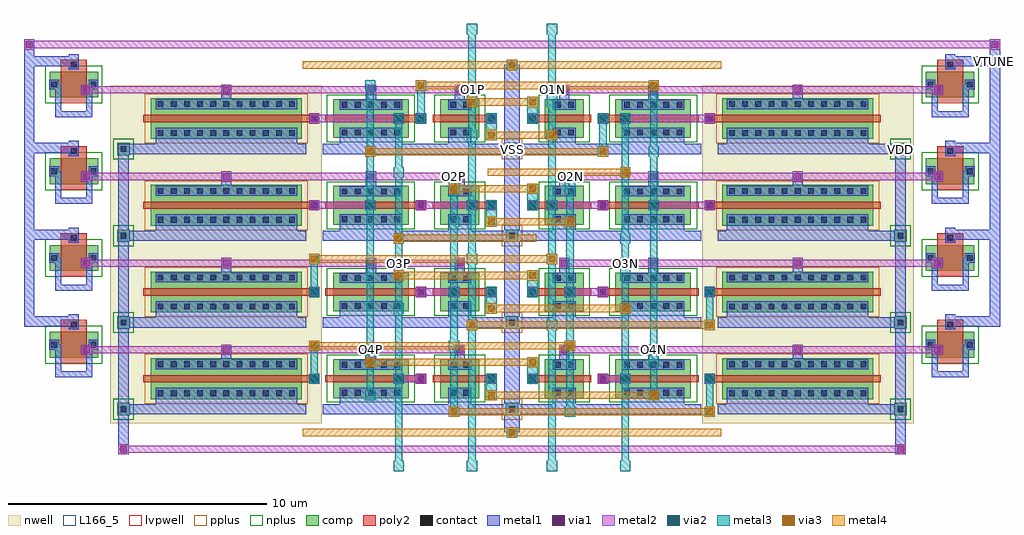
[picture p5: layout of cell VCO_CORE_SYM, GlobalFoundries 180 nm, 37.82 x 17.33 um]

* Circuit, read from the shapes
.subckt VCO_CORE_SYM O1N O1P O2N O2P O3N O3P O4N O4P VDD VSS VTUNE
XM1 O4P VTUNE O4P VSS nfet_03v3 w=1u l=1u
XM2 O3P VTUNE O3P VSS nfet_03v3 w=1u l=1u
XM3 O2P VTUNE O2P VSS nfet_03v3 w=1u l=1u
XM4 O1P VTUNE O1P VSS nfet_03v3 w=1u l=1u
XM5 O4P O3P VSS VSS nfet_03v3 w=2.92u l=0.28u
XM6 O3P O2P VSS VSS nfet_03v3 w=2.92u l=0.28u
XM7 O2P O1P VSS VSS nfet_03v3 w=2.92u l=0.28u
XM8 O1P O4N VSS VSS nfet_03v3 w=2.92u l=0.28u
XM9 O4P O4N VSS VSS nfet_03v3 w=1.5u l=0.28u
XM10 O3P O3N VSS VSS nfet_03v3 w=1.5u l=0.28u
XM11 O2P O2N VSS VSS nfet_03v3 w=1.5u l=0.28u
XM12 O1P O1N VSS VSS nfet_03v3 w=1.5u l=0.28u
XM13 O4N O4P VSS VSS nfet_03v3 w=1.5u l=0.28u
XM14 O3N O3P VSS VSS nfet_03v3 w=1.5u l=0.28u
XM15 O2N O2P VSS VSS nfet_03v3 w=1.5u l=0.28u
XM16 O1N O1P VSS VSS nfet_03v3 w=1.5u l=0.28u
XM17 O4N O3N VSS VSS nfet_03v3 w=2.92u l=0.28u
XM18 O3N O2N VSS VSS nfet_03v3 w=2.92u l=0.28u
XM19 O2N O1N VSS VSS nfet_03v3 w=2.92u l=0.28u
XM20 O1N O4P VSS VSS nfet_03v3 w=2.92u l=0.28u
XM21 O4N VTUNE O4N VSS nfet_03v3 w=1u l=1u
XM22 O3N VTUNE O3N VSS nfet_03v3 w=1u l=1u
XM23 O2N VTUNE O2N VSS nfet_03v3 w=1u l=1u
XM24 O1N VTUNE O1N VSS nfet_03v3 w=1u l=1u
XM25 O4P O2N VDD VDD pfet_03v3 w=5.84u l=0.28u
XM26 O3P O1N VDD VDD pfet_03v3 w=5.84u l=0.28u
XM27 O2P O4P VDD VDD pfet_03v3 w=5.84u l=0.28u
XM28 O1P O3P VDD VDD pfet_03v3 w=5.84u l=0.28u
XM29 O4N O2P VDD VDD pfet_03v3 w=5.84u l=0.28u
XM30 O3N O1P VDD VDD pfet_03v3 w=5.84u l=0.28u
XM31 O2N O4N VDD VDD pfet_03v3 w=5.84u l=0.28u
XM32 O1N O3N VDD VDD pfet_03v3 w=5.84u l=0.28u
.ends

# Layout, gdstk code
from math import pi, radians
import gdstk
lib = gdstk.Library(unit=1e-6, precision=1e-09)
def R(c, l, rs):  # rectangles x0, y0, x1, y1
    for r in rs: c.add(gdstk.rectangle(r[:2], r[2:], *l))
def A(c, l, x, y, w, h, nx, ny, dx, dy):  # array of equal rectangles
    R(c, l, [(x+i*dx, y+j*dy, x+i*dx+w, y+j*dy+h) for i in range(nx) for j in range(ny)])
def P(c, l, *ps):  # polygons
    for p in ps: c.add(gdstk.Polygon(p, *l))
nwell = (21, 0)
comp = (22, 0)
poly2 = (30, 0)
pplus = (31, 0)
nplus = (32, 0)
contact = (33, 0)
metal1 = (34, 0)
via1 = (35, 0)
metal2 = (36, 0)
via2 = (38, 0)
via3 = (40, 0)
metal3 = (42, 0)
metal4 = (46, 0)
L166_5 = (166, 5)
lvpwell = (204, 0)

nfet_w1p5_l0p28_nf1_top = lib.new_cell('NFET_W1p5_L0p28_NF1_top')
R(nfet_w1p5_l0p28_nf1_top, comp, [(-0.42,0,1.08,1.5)])
P(nfet_w1p5_l0p28_nf1_top, poly2, [(0.19,-0.3),(0.19,1.8),(0.15,1.8),(0.15,2.16),(0.51,2.16),(0.51,1.8),(0.47,1.8),(0.47,-0.3)])
R(nfet_w1p5_l0p28_nf1_top, nplus, [(-0.59,-0.24,1.25,1.74)])
R(nfet_w1p5_l0p28_nf1_top, contact, [(-0.32,0.385,-0.1,0.605), (0.76,0.385,0.98,0.605), (-0.32,0.895,-0.1,1.115), (0.76,0.895,0.98,1.115), (0.22,1.87,0.44,2.09)])
R(nfet_w1p5_l0p28_nf1_top, metal1, [(-0.4,0.305,-0.02,1.195), (0.68,0.305,1.06,1.195), (0.14,1.79,0.52,2.17)])

nfet_w2p92_l0p28_nf1_top = lib.new_cell('NFET_W2p92_L0p28_NF1_top')
R(nfet_w2p92_l0p28_nf1_top, comp, [(-0.42,0,1.08,2.92)])
P(nfet_w2p92_l0p28_nf1_top, poly2, [(0.19,-0.3),(0.19,3.22),(0.15,3.22),(0.15,3.58),(0.51,3.58),(0.51,3.22),(0.47,3.22),(0.47,-0.3)])
R(nfet_w2p92_l0p28_nf1_top, nplus, [(-0.59,-0.24,1.25,3.16)])
A(nfet_w2p92_l0p28_nf1_top, contact, -0.32, 0.33, 0.22, 0.22, 1, 5, 0, 0.51)
A(nfet_w2p92_l0p28_nf1_top, contact, 0.76, 0.33, 0.22, 0.22, 1, 5, 0, 0.51)
R(nfet_w2p92_l0p28_nf1_top, contact, [(0.22,3.29,0.44,3.51)])
R(nfet_w2p92_l0p28_nf1_top, metal1, [(-0.4,0.25,-0.02,2.67), (0.68,0.25,1.06,2.67), (0.14,3.21,0.52,3.59)])

pfet_w5p84_l0p28_nf1_top = lib.new_cell('PFET_W5p84_L0p28_NF1_top')
R(pfet_w5p84_l0p28_nf1_top, nwell, [(-0.9,-0.44,1.56,6.28)])
R(pfet_w5p84_l0p28_nf1_top, comp, [(-0.46,0,1.12,5.84)])
P(pfet_w5p84_l0p28_nf1_top, poly2, [(0.19,-0.3),(0.19,6.14),(0.14,6.14),(0.14,6.52),(0.52,6.52),(0.52,6.14),(0.47,6.14),(0.47,-0.3)])
R(pfet_w5p84_l0p28_nf1_top, pplus, [(-0.63,-0.24,1.29,6.08)])
A(pfet_w5p84_l0p28_nf1_top, contact, -0.34, 0.26, 0.22, 0.22, 1, 11, 0, 0.51)
A(pfet_w5p84_l0p28_nf1_top, contact, 0.78, 0.26, 0.22, 0.22, 1, 11, 0, 0.51)
R(pfet_w5p84_l0p28_nf1_top, contact, [(0.22,6.22,0.44,6.44)])
R(pfet_w5p84_l0p28_nf1_top, metal1, [(-0.42,0.18,-0.04,5.66), (0.7,0.18,1.08,5.66), (0.14,6.14,0.52,6.52)])

tap_nw = lib.new_cell('TAP_NW')
R(tap_nw, nwell, [(-0.5,-0.5,0.5,0.5)])
R(tap_nw, comp, [(-0.24,-0.24,0.24,0.24)])
R(tap_nw, nplus, [(-0.4,-0.4,0.4,0.4)])
R(tap_nw, contact, [(-0.11,-0.11,0.11,0.11)])
R(tap_nw, metal1, [(-0.2,-0.2,0.2,0.2)])

tuning_cap_nmos_03v3_1x1 = lib.new_cell('TUNING_CAP_NMOS_03V3_1X1')
R(tuning_cap_nmos_03v3_1x1, comp, [(-0.92,-0.4,0.96,0.6)])
R(tuning_cap_nmos_03v3_1x1, poly2, [(-0.48,-0.62,0.52,1.06)])
R(tuning_cap_nmos_03v3_1x1, nplus, [(-1.08,-0.63,1.12,0.83)])
R(tuning_cap_nmos_03v3_1x1, contact, [(-0.85,-0.01,-0.63,0.21), (0.67,-0.01,0.89,0.21), (-0.09,0.77,0.13,0.99)])
R(tuning_cap_nmos_03v3_1x1, metal1, [(-0.695,-1.165,-0.465,0.1), (-0.695,-1.165,0.735,-0.935), (0.505,-1.165,0.735,0.1), (-0.93,-0.09,-0.55,0.29), (0.59,-0.09,0.97,0.29), (-0.18,0.69,0.22,1.28)])
R(tuning_cap_nmos_03v3_1x1, L166_5, [(-0.92,-0.4,0.96,0.6)])
R(tuning_cap_nmos_03v3_1x1, lvpwell, [(-0.92,-0.4,0.96,0.6)])

vco_core_half = lib.new_cell('VCO_CORE_HALF')
R(vco_core_half, nwell, [(7.38,-6.44,15.56,6.64)])
A(vco_core_half, metal1, 0, -6.09, 7.33, 0.4, 1, 4, 0, 3.36)
A(vco_core_half, metal1, 7.98, -6.09, 7.28, 0.4, 1, 4, 0, 3.36)
A(vco_core_half, metal1, 1.58, -5.89, 0.89, 0.83, 1, 4, 0, 3.36)
A(vco_core_half, metal1, 4.26, -5.89, 2.42, 0.83, 1, 4, 0, 3.36)
A(vco_core_half, metal1, 8.33, -5.89, 5.48, 0.83, 1, 4, 0, 3.36)
A(vco_core_half, metal1, 0.595, -4.91, 0.4, 0.4, 1, 4, 0, 3.36)
A(vco_core_half, metal1, 3.33, -4.91, 0.4, 0.4, 1, 4, 0, 3.36)
A(vco_core_half, metal1, 7.46, -4.91, 0.4, 0.4, 1, 4, 0, 3.36)
A(vco_core_half, metal1, 1.825, -4.04, 0.4, 0.65, 1, 4, 0, 3.36)
A(vco_core_half, metal1, 5.27, -4.04, 0.4, 0.65, 1, 4, 0, 3.36)
A(vco_core_half, metal1, 10.87, -4.04, 0.4, 0.65, 1, 4, 0, 3.36)
A(vco_core_half, metal1, 1.825, -3.79, 0.4, 0.4, 1, 4, 0, 3.36)
A(vco_core_half, metal1, 5.27, -3.79, 0.4, 0.4, 1, 4, 0, 3.36)
A(vco_core_half, metal1, 10.87, -3.79, 0.4, 0.4, 1, 4, 0, 3.36)
A(vco_core_half, metal1, 16.29, -3.79, 0.4, 0.4, 1, 4, 0, 3.36)
A(vco_core_half, metal1, 16.78, -2.69, 2.13, 0.4, 1, 4, 0, 3.36)
R(vco_core_half, metal1, [(14.86,-7.64,15.26,4.39), (14.86,-7.64,15.26,-7.24), (0,-6.09,0.3,4.39), (18.51,-2.69,18.91,8.44), (18.51,8.04,18.91,8.44)])
A(vco_core_half, via1, 0.665, -4.84, 0.26, 0.26, 1, 4, 0, 3.36)
A(vco_core_half, via1, 3.4, -4.84, 0.26, 0.26, 1, 4, 0, 3.36)
A(vco_core_half, via1, 7.53, -4.84, 0.26, 0.26, 1, 4, 0, 3.36)
A(vco_core_half, via1, 1.895, -3.72, 0.26, 0.26, 1, 4, 0, 3.36)
A(vco_core_half, via1, 5.34, -3.72, 0.26, 0.26, 1, 4, 0, 3.36)
A(vco_core_half, via1, 10.94, -3.72, 0.26, 0.26, 1, 4, 0, 3.36)
A(vco_core_half, via1, 16.36, -3.72, 0.26, 0.26, 1, 4, 0, 3.36)
R(vco_core_half, via1, [(14.93,-7.57,15.19,-7.31), (18.58,8.11,18.84,8.37)])
A(vco_core_half, metal2, 0.595, -4.91, 0.4, 0.4, 1, 4, 0, 3.36)
A(vco_core_half, metal2, 3.33, -4.91, 0.4, 0.4, 1, 4, 0, 3.36)
A(vco_core_half, metal2, 7.46, -4.91, 0.4, 0.4, 1, 4, 0, 3.36)
A(vco_core_half, metal2, 1.825, -3.79, 0.4, 0.4, 1, 4, 0, 3.36)
A(vco_core_half, metal2, 5.27, -3.79, 0.4, 0.4, 1, 4, 0, 3.36)
A(vco_core_half, metal2, 10.87, -3.79, 0.4, 0.4, 1, 4, 0, 3.36)
A(vco_core_half, metal2, 16.29, -3.79, 0.4, 0.4, 1, 4, 0, 3.36)
A(vco_core_half, metal2, 1.885, -3.73, 14.745, 0.28, 1, 3, 0, 3.36)
R(vco_core_half, metal2, [(14.86,-7.64,15.26,-7.24), (-0.14,-7.58,15.2,-7.3), (4.19,-4.91,4.59,-4.51), (3.39,-4.85,4.53,-4.57), (5.29,-3.79,5.69,-3.39), (5.47,-3.79,5.49,-3.39), (2.05,-1.55,2.45,-1.15), (2.11,-1.49,3.67,-1.21), (4.19,-0.43,4.59,-0.03), (1.35,1.81,1.75,2.21), (5.29,1.81,5.69,2.21), (1.41,1.87,3.67,2.15), (5.35,1.87,7.8,2.15), (2.025,2.93,2.25,3.33), (2.05,2.93,2.45,3.33), (4.19,5.17,4.59,5.57), (4.25,5.23,7.8,5.51), (1.35,6.29,1.75,6.69), (1.55,6.29,2.025,6.69), (1.41,6.35,16.63,6.63), (18.51,8.04,18.91,8.44), (-0.14,8.1,18.85,8.38)])
A(vco_core_half, via2, 0.665, -4.84, 0.26, 0.26, 1, 4, 0, 3.36)
R(vco_core_half, via2, [(4.26,-4.84,4.52,-4.58), (7.53,-4.84,7.79,-4.58), (5.36,-3.72,5.62,-3.46), (2.12,-1.48,2.38,-1.22), (7.53,-1.48,7.79,-1.22), (4.26,-0.36,4.52,-0.1), (1.42,1.88,1.68,2.14), (5.36,1.88,5.62,2.14), (2.12,3,2.38,3.26), (3.4,5.24,3.66,5.5), (4.26,5.24,4.52,5.5), (1.42,6.36,1.68,6.62)])
A(vco_core_half, metal3, 0.595, -4.91, 0.4, 0.4, 1, 4, 0, 3.36)
R(vco_core_half, metal3, [(1.35,-8.29,1.75,-7.89), (4.19,-8.29,4.59,-7.89), (1.41,-8.23,1.69,8.98), (4.25,-8.23,4.53,5.51), (2.05,-6.19,2.45,-5.79), (2.11,-6.13,2.39,3.27), (5.29,-5.55,5.69,-5.15), (5.35,-5.49,5.63,6.79), (4.19,-4.91,4.59,-4.51), (4.19,-4.91,4.59,-4.51), (7.46,-4.91,7.86,-4.51), (5.29,-4.27,5.69,-3.87), (5.29,-4.07,5.69,-3.59), (5.29,-3.79,5.69,-3.39), (5.29,-3.79,5.69,-3.39), (2.05,-3.63,2.45,-3.23), (1.35,-2.83,1.75,-2.43), (4.19,-2.19,4.59,-1.79), (2.05,-1.55,2.45,-1.15), (2.05,-1.55,2.45,-1.15), (7.46,-1.55,7.86,-1.15), (4.19,-0.91,4.59,-0.51), (4.19,-0.71,4.59,-0.23), (4.19,-0.43,4.59,-0.03), (4.19,-0.43,4.59,-0.03), (1.35,-0.27,1.75,0.13), (4.19,0.53,4.59,0.93), (2.05,1.17,2.45,1.57), (1.35,1.81,1.75,2.21), (1.35,1.81,1.75,2.21), (5.29,1.81,5.69,2.21), (5.29,1.81,5.69,2.21), (2.05,2.45,2.45,2.85), (2.05,2.65,2.45,3.13), (2.05,2.93,2.45,3.33), (2.05,2.93,2.45,3.33), (4.19,3.09,4.59,3.49), (5.29,3.89,5.69,4.29), (1.35,4.53,1.75,4.93), (3.33,5.17,3.73,5.57), (4.19,5.17,4.59,5.57), (4.19,5.17,4.59,5.57), (1.35,5.81,1.75,6.21), (1.35,6.01,1.75,6.49), (1.35,6.29,1.75,6.69), (1.35,6.29,1.75,6.69), (5.29,6.45,5.69,6.85), (1.35,8.64,1.75,9.04)])
vco_core_half.add(gdstk.Reference(nfet_w1p5_l0p28_nf1_top, (2.775,5.04), rotation=pi/2))
vco_core_half.add(gdstk.Reference(nfet_w2p92_l0p28_nf1_top, (6.93,5.04), rotation=pi/2))
vco_core_half.add(gdstk.Reference(pfet_w5p84_l0p28_nf1_top, (13.99,5.04), rotation=pi/2))
vco_core_half.add(gdstk.Reference(tap_nw, (15.06,4.19)))
vco_core_half.add(gdstk.Reference(tuning_cap_nmos_03v3_1x1, (16.96,6.59)))
vco_core_half.add(gdstk.Reference(nfet_w1p5_l0p28_nf1_top, (2.775,1.68), rotation=pi/2))
vco_core_half.add(gdstk.Reference(nfet_w2p92_l0p28_nf1_top, (6.93,1.68), rotation=pi/2))
vco_core_half.add(gdstk.Reference(pfet_w5p84_l0p28_nf1_top, (13.99,1.68), rotation=pi/2))
vco_core_half.add(gdstk.Reference(tap_nw, (15.06,0.83)))
vco_core_half.add(gdstk.Reference(tuning_cap_nmos_03v3_1x1, (16.96,3.23)))
vco_core_half.add(gdstk.Reference(nfet_w1p5_l0p28_nf1_top, (2.775,-1.68), rotation=pi/2))
vco_core_half.add(gdstk.Reference(nfet_w2p92_l0p28_nf1_top, (6.93,-1.68), rotation=pi/2))
vco_core_half.add(gdstk.Reference(pfet_w5p84_l0p28_nf1_top, (13.99,-1.68), rotation=pi/2))
vco_core_half.add(gdstk.Reference(tap_nw, (15.06,-2.53)))
vco_core_half.add(gdstk.Reference(tuning_cap_nmos_03v3_1x1, (16.96,-0.13)))
vco_core_half.add(gdstk.Reference(nfet_w1p5_l0p28_nf1_top, (2.775,-5.04), rotation=pi/2))
vco_core_half.add(gdstk.Reference(nfet_w2p92_l0p28_nf1_top, (6.93,-5.04), rotation=pi/2))
vco_core_half.add(gdstk.Reference(pfet_w5p84_l0p28_nf1_top, (13.99,-5.04), rotation=pi/2))
vco_core_half.add(gdstk.Reference(tap_nw, (15.06,-5.89)))
vco_core_half.add(gdstk.Reference(tuning_cap_nmos_03v3_1x1, (16.96,-3.49)))

tap_sub = lib.new_cell('TAP_SUB')
R(tap_sub, comp, [(-0.24,-0.24,0.24,0.24)])
R(tap_sub, pplus, [(-0.4,-0.4,0.4,0.4)])
R(tap_sub, contact, [(-0.11,-0.11,0.11,0.11)])
R(tap_sub, metal1, [(-0.2,-0.2,0.2,0.2)])

vco_core_sym = lib.new_cell('VCO_CORE_SYM')
R(vco_core_sym, metal1, [(-0.2,-6.99,0.2,-6.59), (-0.3,-6.79,0.3,-5.89), (-0.3,4.19,0.3,7.45), (-0.2,7.25,0.2,7.65)])
R(vco_core_sym, via1, [(-0.13,-6.92,0.13,-6.66), (-0.13,7.32,0.13,7.58)])
R(vco_core_sym, metal2, [(-0.2,-6.99,0.2,-6.59), (-0.2,7.25,0.2,7.65)])
R(vco_core_sym, via2, [(-0.13,-6.92,0.13,-6.66), (-0.13,7.32,0.13,7.58)])
A(vco_core_sym, via3, -0.925, -5.48, 0.26, 0.26, 1, 4, 0, 3.36)
A(vco_core_sym, via3, 0.665, -4.2, 0.26, 0.26, 1, 4, 0, 3.36)
R(vco_core_sym, via3, [(-0.13,-6.92,0.13,-6.66), (-2.38,-6.12,-2.12,-5.86), (7.53,-6.12,7.79,-5.86), (5.36,-5.48,5.62,-5.22), (-5.62,-4.2,-5.36,-3.94), (-7.79,-3.56,-7.53,-3.3), (2.12,-3.56,2.38,-3.3), (-1.68,-2.76,-1.42,-2.5), (7.53,-2.76,7.79,-2.5), (4.26,-2.12,4.52,-1.86), (-4.52,-0.84,-4.26,-0.58), (-7.79,-0.2,-7.53,0.06), (1.42,-0.2,1.68,0.06), (-4.52,0.6,-4.26,0.86), (2.12,1.24,2.38,1.5), (-2.38,2.52,-2.12,2.78), (4.26,3.16,4.52,3.42), (-5.62,3.96,-5.36,4.22), (3.4,3.96,3.66,4.22), (1.42,4.6,1.68,4.86), (-1.68,5.88,-1.42,6.14), (-3.66,6.52,-3.4,6.78), (5.36,6.52,5.62,6.78), (-0.13,7.32,0.13,7.58)])
A(vco_core_sym, metal3, -0.995, -5.55, 0.4, 1.04, 1, 4, 0, 3.36)
A(vco_core_sym, metal3, -0.995, -5.55, 0.4, 0.4, 1, 4, 0, 3.36)
A(vco_core_sym, metal3, 0.595, -4.91, 0.4, 1.04, 1, 4, 0, 3.36)
A(vco_core_sym, metal3, 0.595, -4.27, 0.4, 0.4, 1, 4, 0, 3.36)
R(vco_core_sym, metal3, [(-0.2,-6.99,0.2,-6.59), (-2.45,-6.19,-2.05,-5.79), (7.46,-6.19,7.86,-5.79), (7.52,-6.13,7.8,-4.57), (5.29,-5.55,5.69,-5.15), (-7.8,-4.85,-7.52,-3.29), (-5.69,-4.27,-5.29,-3.87), (-7.86,-3.63,-7.46,-3.23), (2.05,-3.63,2.45,-3.23), (-1.75,-2.83,-1.35,-2.43), (7.46,-2.83,7.86,-2.43), (7.52,-2.77,7.8,-1.21), (4.19,-2.19,4.59,-1.79), (-7.8,-1.49,-7.52,0.07), (-4.59,-0.91,-4.19,-0.51), (-7.86,-0.27,-7.46,0.13), (1.35,-0.27,1.75,0.13), (-4.59,0.53,-4.19,0.93), (2.05,1.17,2.45,1.57), (-2.45,2.45,-2.05,2.85), (4.19,3.09,4.59,3.49), (-5.69,3.89,-5.29,4.29), (3.33,3.89,3.73,4.29), (3.39,3.95,3.67,5.51), (1.35,4.53,1.75,4.93), (-3.67,5.23,-3.39,6.79), (-1.75,5.81,-1.35,6.21), (-3.73,6.45,-3.33,6.85), (5.29,6.45,5.69,6.85), (-0.2,7.25,0.2,7.65)])
A(vco_core_sym, metal4, -0.995, -5.55, 0.4, 0.4, 1, 4, 0, 3.36)
A(vco_core_sym, metal4, 0.595, -4.27, 0.4, 0.4, 1, 4, 0, 3.36)
R(vco_core_sym, metal4, [(-0.2,-6.99,0.2,-6.59), (-8.1,-6.93,8.1,-6.65), (-2.45,-6.19,-2.05,-5.79), (7.46,-6.19,7.86,-5.79), (-2.39,-6.13,7.8,-5.85), (5.29,-5.55,5.69,-5.15), (-0.935,-5.49,5.63,-5.21), (-5.69,-4.27,-5.29,-3.87), (-5.63,-4.21,0.935,-3.93), (-7.86,-3.63,-7.46,-3.23), (2.05,-3.63,2.45,-3.23), (-7.8,-3.57,2.39,-3.29), (-1.75,-2.83,-1.35,-2.43), (7.46,-2.83,7.86,-2.43), (-1.69,-2.77,7.8,-2.49), (4.19,-2.19,4.59,-1.79), (-0.935,-2.13,4.53,-1.85), (-4.59,-0.91,-4.19,-0.51), (-4.53,-0.85,0.935,-0.57), (-7.86,-0.27,-7.46,0.13), (1.35,-0.27,1.75,0.13), (-7.8,-0.21,1.69,0.07), (-4.59,0.53,-4.19,0.93), (-4.53,0.59,0.935,0.87), (2.05,1.17,2.45,1.57), (-0.935,1.23,2.39,1.51), (-2.45,2.45,-2.05,2.85), (-2.39,2.51,0.935,2.79), (4.19,3.09,4.59,3.49), (-0.935,3.15,4.53,3.43), (-5.69,3.89,-5.29,4.29), (3.33,3.89,3.73,4.29), (-5.63,3.95,3.67,4.23), (1.35,4.53,1.75,4.93), (-0.935,4.59,1.69,4.87), (-1.75,5.81,-1.35,6.21), (-1.69,5.87,0.935,6.15), (-3.73,6.45,-3.33,6.85), (5.29,6.45,5.69,6.85), (-3.67,6.51,5.63,6.79), (-0.2,7.25,0.2,7.65), (-8.1,7.31,8.1,7.59)])
vco_core_sym.add(gdstk.Reference(vco_core_half, (0,0)))
vco_core_sym.add(gdstk.Reference(vco_core_half, (0,0), rotation=pi, x_reflection=True))
vco_core_sym.add(gdstk.Reference(tap_sub, (0,4.19)))
vco_core_sym.add(gdstk.Reference(tap_sub, (0,0.83)))
vco_core_sym.add(gdstk.Reference(tap_sub, (0,-2.53)))
vco_core_sym.add(gdstk.Reference(tap_sub, (0,-5.89)))
vco_core_sym.add(gdstk.Label('VSS', (0,4.19), layer=34, texttype=10))
vco_core_sym.add(gdstk.Label('VDD', (15.06,4.19), layer=34, texttype=10))
vco_core_sym.add(gdstk.Label('VTUNE', (18.71,7.59), layer=34, texttype=10))
vco_core_sym.add(gdstk.Label('O1N', (1.55,6.49), layer=36, texttype=10))
vco_core_sym.add(gdstk.Label('O1P', (-1.55,6.49), layer=36, texttype=10))
vco_core_sym.add(gdstk.Label('O2N', (2.25,3.13), layer=36, texttype=10))
vco_core_sym.add(gdstk.Label('O2P', (-2.25,3.13), layer=36, texttype=10))
vco_core_sym.add(gdstk.Label('O3N', (4.39,-0.23), layer=36, texttype=10))
vco_core_sym.add(gdstk.Label('O3P', (-4.39,-0.23), layer=36, texttype=10))
vco_core_sym.add(gdstk.Label('O4N', (5.49,-3.59), layer=36, texttype=10))
vco_core_sym.add(gdstk.Label('O4P', (-5.49,-3.59), layer=36, texttype=10))

lib.write_gds('VCO_CORE_SYM.gds')
